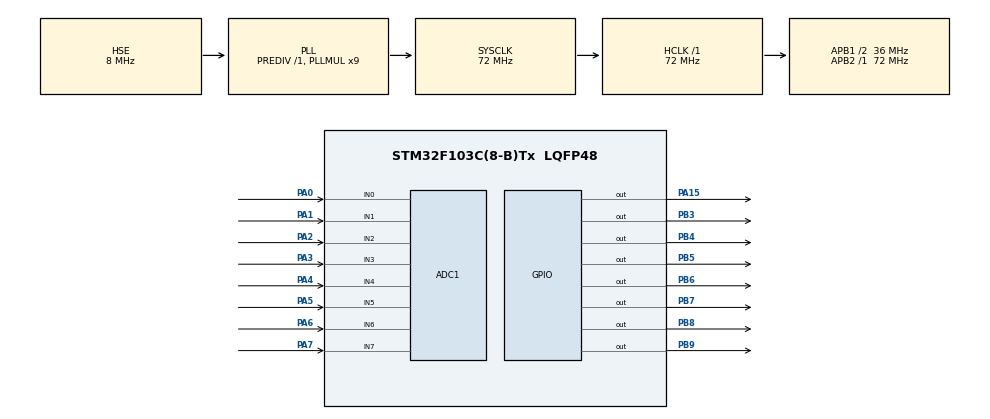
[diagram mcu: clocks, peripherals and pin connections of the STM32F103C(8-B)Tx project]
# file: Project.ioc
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ADC1.Channel-0\#ChannelRegularConversion=ADC_CHANNEL_0
ADC1.Channel-1\#ChannelRegularConversion=ADC_CHANNEL_1
ADC1.Channel-2\#ChannelRegularConversion=ADC_CHANNEL_2
ADC1.Channel-3\#ChannelRegularConversion=ADC_CHANNEL_3
ADC1.Channel-4\#ChannelRegularConversion=ADC_CHANNEL_4
ADC1.Channel-5\#ChannelRegularConversion=ADC_CHANNEL_5
ADC1.Channel-6\#ChannelRegularConversion=ADC_CHANNEL_6
ADC1.Channel-7\#ChannelRegularConversion=ADC_CHANNEL_7
ADC1.ContinuousConvMode=ENABLE
ADC1.NbrOfConversion=8
ADC1.NbrOfConversionFlag=1
ADC1.Rank-0\#ChannelRegularConversion=1
ADC1.Rank-1\#ChannelRegularConversion=2
ADC1.Rank-2\#ChannelRegularConversion=3
ADC1.Rank-3\#ChannelRegularConversion=4
ADC1.Rank-4\#ChannelRegularConversion=5
ADC1.Rank-5\#ChannelRegularConversion=6
ADC1.Rank-6\#ChannelRegularConversion=7
ADC1.Rank-7\#ChannelRegularConversion=8
ADC1.SamplingTime-0\#ChannelRegularConversion=ADC_SAMPLETIME_7CYCLES_5
ADC1.SamplingTime-1\#ChannelRegularConversion=ADC_SAMPLETIME_7CYCLES_5
ADC1.SamplingTime-2\#ChannelRegularConversion=ADC_SAMPLETIME_7CYCLES_5
ADC1.SamplingTime-3\#ChannelRegularConversion=ADC_SAMPLETIME_7CYCLES_5
ADC1.SamplingTime-4\#ChannelRegularConversion=ADC_SAMPLETIME_7CYCLES_5
ADC1.SamplingTime-5\#ChannelRegularConversion=ADC_SAMPLETIME_7CYCLES_5
ADC1.SamplingTime-6\#ChannelRegularConversion=ADC_SAMPLETIME_7CYCLES_5
ADC1.SamplingTime-7\#ChannelRegularConversion=ADC_SAMPLETIME_7CYCLES_5
ADC1.master=1
Dma.ADC1.0.Direction=DMA_PERIPH_TO_MEMORY
Dma.ADC1.0.Instance=DMA1_Channel1
Dma.ADC1.0.MemDataAlignment=DMA_MDATAALIGN_WORD
Dma.ADC1.0.MemInc=DMA_MINC_ENABLE
Dma.ADC1.0.Mode=DMA_CIRCULAR
Dma.ADC1.0.PeriphDataAlignment=DMA_PDATAALIGN_WORD
Dma.ADC1.0.PeriphInc=DMA_PINC_DISABLE
Dma.ADC1.0.Priority=DMA_PRIORITY_LOW
Dma.Request0=ADC1
Mcu.Family=STM32F1
Mcu.Name=STM32F103C(8-B)Tx
Mcu.Package=LQFP48
NVIC.DMA1_Channel1_IRQn=true\:0\:0\:false\:false\:true\:false\:true
NVIC.PriorityGroup=NVIC_PRIORITYGROUP_4
PA0-WKUP.Signal=ADCx_IN0
PA1.Signal=ADCx_IN1
PA13.Mode=Serial_Wire
PA13.Signal=SYS_JTMS-SWDIO
PA14.Mode=Serial_Wire
PA14.Signal=SYS_JTCK-SWCLK
PA15.Signal=GPIO_Output
PA2.Signal=ADCx_IN2
PA3.Signal=ADCx_IN3
PA4.Signal=ADCx_IN4
PA5.Signal=ADCx_IN5
PA6.Signal=ADCx_IN6
PA7.Signal=ADCx_IN7
PB3.Signal=GPIO_Output
PB4.Signal=GPIO_Output
PB5.Signal=GPIO_Output
PB6.Signal=GPIO_Output
PB7.Signal=GPIO_Output
PB8.Signal=GPIO_Output
PB9.Signal=GPIO_Output
PD0-OSC_IN.Mode=HSE-External-Oscillator
PD0-OSC_IN.Signal=RCC_OSC_IN
PD1-OSC_OUT.Mode=HSE-External-Oscillator
PD1-OSC_OUT.Signal=RCC_OSC_OUT
ProjectManager.HeapSize=0x200
ProjectManager.StackSize=0x400
ProjectManager.TargetToolchain=MDK-ARM V5.27
RCC.ADCPresc=RCC_ADCPCLK2_DIV6
RCC.AHBFreq_Value=72000000
RCC.APB1CLKDivider=RCC_HCLK_DIV2
RCC.APB1Freq_Value=36000000
RCC.APB1TimFreq_Value=72000000
RCC.APB2Freq_Value=72000000
RCC.APB2TimFreq_Value=72000000
RCC.HCLKFreq_Value=72000000
RCC.PLLMUL=RCC_PLL_MUL9
RCC.PLLSourceVirtual=RCC_PLLSOURCE_HSE
RCC.SYSCLKFreq_VALUE=72000000
RCC.SYSCLKSource=RCC_SYSCLKSOURCE_PLLCLK
RCC.USBFreq_Value=72000000
SH.ADCx_IN0.0=ADC1_IN0,IN0
SH.ADCx_IN1.0=ADC1_IN1,IN1
SH.ADCx_IN2.0=ADC1_IN2,IN2
SH.ADCx_IN3.0=ADC1_IN3,IN3
SH.ADCx_IN4.0=ADC1_IN4,IN4
SH.ADCx_IN5.0=ADC1_IN5,IN5
SH.ADCx_IN6.0=ADC1_IN6,IN6
SH.ADCx_IN7.0=ADC1_IN7,IN7
TIM1.Prescaler=71
VP_TIM1_VS_ClockSourceINT.Mode=Internal
board=custom

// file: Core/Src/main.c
/* USER CODE BEGIN Header */
/**
  ******************************************************************************
  * @file           : main.c
  * @brief          : Main program body
  ******************************************************************************
  * @attention
  *
  * <h2><center>&copy; Copyright (c) 2021 STMicroelectronics.
  * All rights reserved.</center></h2>
  *
  * This software component is licensed by ST under BSD 3-Clause license,
  * the "License"; You may not use this file except in compliance with the
  * License. You may obtain a copy of the License at:
  *                        opensource.org/licenses/BSD-3-Clause
  *
  ******************************************************************************
  */
/* USER CODE END Header */
#include "main.h"

/* USER CODE BEGIN PTD */
void delay_us (uint16_t delay);
void CheckLed (void);
void CheckColumn (void);
void CheckRow (void);
void AverageColumn(void);
void ShowScreen(void);
void DisplayScreen(uint16_t display[]);

/* USER CODE END PTD */

ADC_HandleTypeDef hadc1;
DMA_HandleTypeDef hdma_adc1;

TIM_HandleTypeDef htim1;

void SystemClock_Config(void);
static void MX_GPIO_Init(void);
static void MX_DMA_Init(void);
static void MX_ADC1_Init(void);
static void MX_TIM1_Init(void);
/* USER CODE BEGIN PFP */

  uint16_t go[8] = {0x00,0xF0,0x90,0x87,0xB5,0x95,0xF7,0x00};

/* USER CODE END PFP */

/* USER CODE BEGIN 0 */

// Pin Numaralari Tanimlamalari
uint32_t rows[8] ={GPIO_PIN_15,GPIO_PIN_3,GPIO_PIN_4,GPIO_PIN_5,GPIO_PIN_6,GPIO_PIN_7,GPIO_PIN_8,GPIO_PIN_9};       // PA12 PA15 | PB2-PB8
uint32_t cols[8] ={GPIO_PIN_0,GPIO_PIN_1,GPIO_PIN_2,GPIO_PIN_3,GPIO_PIN_4,GPIO_PIN_5,GPIO_PIN_6,GPIO_PIN_7};				// PA0-PA7

// ADC Dizileri
uint32_t adc_col[8]={0};																																														// ADC Ham Veri Dizisi
uint32_t adc_col_tresh[8]={0};																																											// Baslangic Voltaj Dizisi
int32_t diff[8]={0};																																																// Fark Dizisi

// Lazer Pointer Degiskenleri
uint8_t pointed_column=8;																																														// Lazerle isaretlenen Sütün Degeri - [8 - lazer yok]
uint8_t pointed_row=8;																																															// Lazerle isaretlenen Satir Degeri - [8 - lazer yok]

uint16_t screen[8]={0};																																															// Ekran Deger Dizisi

/* USER CODE END 0 */

int main(void)
{

  /* MCU Configuration--------------------------------------------------------*/

  /* Reset of all peripherals, Initializes the Flash interface and the Systick. */
  HAL_Init();

  /* Configure the system clock */
  SystemClock_Config();

  /* Initialize all configured peripherals */
  MX_GPIO_Init();
  MX_DMA_Init();
//  MX_ADC1_Init();
  MX_TIM1_Init();
  /* USER CODE BEGIN 2 */

	CheckLed();																																																						// Baslangic Ekrani ve Ledler
	AverageColumn();																																																			// Ortalama Voltaj Degerleri Okunuyor

  /* USER CODE END 2 */

  /* Infinite loop */
  while (1)
  {

    /* USER CODE BEGIN 3 */

		CheckColumn();																																																			// Lazer Pointer Ile Isaretlenen Satir Degeri Hesaplama Fonksiyonu
		CheckRow();																																																					// Lazer Pointer Ile Isaretlenen Sutun Degeri Hesaplama Fonksiyonu

		HAL_GPIO_DeInit(GPIOA,GPIO_PIN_15);
		HAL_GPIO_DeInit(GPIOB,GPIO_PIN_3|GPIO_PIN_4|GPIO_PIN_5|GPIO_PIN_6
														|GPIO_PIN_7|GPIO_PIN_8|GPIO_PIN_9);

		if(pointed_row <8 && pointed_column <8)
		{
			screen[pointed_row]= screen[pointed_row] | ( 1u<<pointed_column);
		}

		//ShowScreen();																																																				// Ekrana Isaretlenen Deger Yazdiriliyor.
		DisplayScreen(go);

  }
  /* USER CODE END 3 */
}

void SystemClock_Config(void)
{
  RCC_OscInitTypeDef RCC_OscInitStruct = {0};
  RCC_ClkInitTypeDef RCC_ClkInitStruct = {0};
  RCC_PeriphCLKInitTypeDef PeriphClkInit = {0};

  /** Initializes the RCC Oscillators according to the specified parameters
  * in the RCC_OscInitTypeDef structure.
  */
  RCC_OscInitStruct.OscillatorType = RCC_OSCILLATORTYPE_HSE;
  RCC_OscInitStruct.HSEState = RCC_HSE_ON;
  RCC_OscInitStruct.HSEPredivValue = RCC_HSE_PREDIV_DIV1;
  RCC_OscInitStruct.HSIState = RCC_HSI_ON;
  RCC_OscInitStruct.PLL.PLLState = RCC_PLL_ON;
  RCC_OscInitStruct.PLL.PLLSource = RCC_PLLSOURCE_HSE;
  RCC_OscInitStruct.PLL.PLLMUL = RCC_PLL_MUL9;
  if (HAL_RCC_OscConfig(&RCC_OscInitStruct) != HAL_OK)
  {
    Error_Handler();
  }
  /** Initializes the CPU, AHB and APB buses clocks
  */
  RCC_ClkInitStruct.ClockType = RCC_CLOCKTYPE_HCLK|RCC_CLOCKTYPE_SYSCLK
                              |RCC_CLOCKTYPE_PCLK1|RCC_CLOCKTYPE_PCLK2;
  RCC_ClkInitStruct.SYSCLKSource = RCC_SYSCLKSOURCE_PLLCLK;
  RCC_ClkInitStruct.AHBCLKDivider = RCC_SYSCLK_DIV1;
  RCC_ClkInitStruct.APB1CLKDivider = RCC_HCLK_DIV2;
  RCC_ClkInitStruct.APB2CLKDivider = RCC_HCLK_DIV1;

  if (HAL_RCC_ClockConfig(&RCC_ClkInitStruct, FLASH_LATENCY_2) != HAL_OK)
  {
    Error_Handler();
  }
  PeriphClkInit.PeriphClockSelection = RCC_PERIPHCLK_ADC;
  PeriphClkInit.AdcClockSelection = RCC_ADCPCLK2_DIV6;
  if (HAL_RCCEx_PeriphCLKConfig(&PeriphClkInit) != HAL_OK)
  {
    Error_Handler();
  }
}

static void MX_ADC1_Init(void)
{

  ADC_ChannelConfTypeDef sConfig = {0};

  /** Common config
  */
  hadc1.Instance = ADC1;
  hadc1.Init.ScanConvMode = ADC_SCAN_ENABLE;
  hadc1.Init.ContinuousConvMode = ENABLE;
  hadc1.Init.DiscontinuousConvMode = DISABLE;
  hadc1.Init.ExternalTrigConv = ADC_SOFTWARE_START;
  hadc1.Init.DataAlign = ADC_DATAALIGN_RIGHT;
  hadc1.Init.NbrOfConversion = 8;
  if (HAL_ADC_Init(&hadc1) != HAL_OK)
  {
    Error_Handler();
  }
  /** Configure Regular Channel
  */
  sConfig.Channel = ADC_CHANNEL_0;
  sConfig.Rank = ADC_REGULAR_RANK_1;
  sConfig.SamplingTime = ADC_SAMPLETIME_7CYCLES_5;
  if (HAL_ADC_ConfigChannel(&hadc1, &sConfig) != HAL_OK)
  {
    Error_Handler();
  }
  /** Configure Regular Channel
  */
  sConfig.Channel = ADC_CHANNEL_1;
  sConfig.Rank = ADC_REGULAR_RANK_2;
  if (HAL_ADC_ConfigChannel(&hadc1, &sConfig) != HAL_OK)
  {
    Error_Handler();
  }
  /** Configure Regular Channel
  */
  sConfig.Channel = ADC_CHANNEL_2;
  sConfig.Rank = ADC_REGULAR_RANK_3;
  if (HAL_ADC_ConfigChannel(&hadc1, &sConfig) != HAL_OK)
  {
    Error_Handler();
  }
  /** Configure Regular Channel
  */
  sConfig.Channel = ADC_CHANNEL_3;
  sConfig.Rank = ADC_REGULAR_RANK_4;
  if (HAL_ADC_ConfigChannel(&hadc1, &sConfig) != HAL_OK)
  {
    Error_Handler();
  }
  /** Configure Regular Channel
  */
  sConfig.Channel = ADC_CHANNEL_4;
  sConfig.Rank = ADC_REGULAR_RANK_5;
  if (HAL_ADC_ConfigChannel(&hadc1, &sConfig) != HAL_OK)
  {
    Error_Handler();
  }
  /** Configure Regular Channel
  */
  sConfig.Channel = ADC_CHANNEL_5;
  sConfig.Rank = ADC_REGULAR_RANK_6;
  if (HAL_ADC_ConfigChannel(&hadc1, &sConfig) != HAL_OK)
  {
    Error_Handler();
  }
  /** Configure Regular Channel
  */
  sConfig.Channel = ADC_CHANNEL_6;
  sConfig.Rank = ADC_REGULAR_RANK_7;
  if (HAL_ADC_ConfigChannel(&hadc1, &sConfig) != HAL_OK)
  {
    Error_Handler();
  }
  /** Configure Regular Channel
  */
  sConfig.Channel = ADC_CHANNEL_7;
  sConfig.Rank = ADC_REGULAR_RANK_8;
  if (HAL_ADC_ConfigChannel(&hadc1, &sConfig) != HAL_OK)
  {
    Error_Handler();
  }

}

static void MX_TIM1_Init(void)
{

  TIM_ClockConfigTypeDef sClockSourceConfig = {0};
  TIM_MasterConfigTypeDef sMasterConfig = {0};

  htim1.Instance = TIM1;
  htim1.Init.Prescaler = 71;
  htim1.Init.CounterMode = TIM_COUNTERMODE_UP;
  htim1.Init.Period = 65535;
  htim1.Init.ClockDivision = TIM_CLOCKDIVISION_DIV1;
  htim1.Init.RepetitionCounter = 0;
  htim1.Init.AutoReloadPreload = TIM_AUTORELOAD_PRELOAD_DISABLE;
  if (HAL_TIM_Base_Init(&htim1) != HAL_OK)
  {
    Error_Handler();
  }
  sClockSourceConfig.ClockSource = TIM_CLOCKSOURCE_INTERNAL;
  if (HAL_TIM_ConfigClockSource(&htim1, &sClockSourceConfig) != HAL_OK)
  {
    Error_Handler();
  }
  sMasterConfig.MasterOutputTrigger = TIM_TRGO_RESET;
  sMasterConfig.MasterSlaveMode = TIM_MASTERSLAVEMODE_DISABLE;
  if (HAL_TIMEx_MasterConfigSynchronization(&htim1, &sMasterConfig) != HAL_OK)
  {
    Error_Handler();
  }

}

static void MX_DMA_Init(void)
{

  /* DMA controller clock enable */
  __HAL_RCC_DMA1_CLK_ENABLE();

  /* DMA interrupt init */
  /* DMA1_Channel1_IRQn interrupt configuration */
  HAL_NVIC_SetPriority(DMA1_Channel1_IRQn, 0, 0);
  HAL_NVIC_EnableIRQ(DMA1_Channel1_IRQn);

}

static void MX_GPIO_Init(void)
{
  GPIO_InitTypeDef GPIO_InitStruct = {0};

  /* GPIO Ports Clock Enable */
  __HAL_RCC_GPIOD_CLK_ENABLE();
  __HAL_RCC_GPIOA_CLK_ENABLE();
  __HAL_RCC_GPIOB_CLK_ENABLE();

  /*Configure GPIO pin Output Level */
  HAL_GPIO_WritePin(GPIOA, GPIO_PIN_0|GPIO_PIN_1|GPIO_PIN_2|GPIO_PIN_3|GPIO_PIN_4
	|GPIO_PIN_5|GPIO_PIN_6|GPIO_PIN_7|GPIO_PIN_15, GPIO_PIN_RESET);

  /*Configure GPIO pin Output Level */
  HAL_GPIO_WritePin(GPIOB, GPIO_PIN_3|GPIO_PIN_4|GPIO_PIN_5|GPIO_PIN_6
                          |GPIO_PIN_7|GPIO_PIN_8|GPIO_PIN_9, GPIO_PIN_RESET);

  /*Configure GPIO pin : PA15 */
  GPIO_InitStruct.Pin = GPIO_PIN_0|GPIO_PIN_1|GPIO_PIN_2|GPIO_PIN_3|GPIO_PIN_4
	|GPIO_PIN_5|GPIO_PIN_6|GPIO_PIN_7|GPIO_PIN_15;
  GPIO_InitStruct.Mode = GPIO_MODE_OUTPUT_PP;
  GPIO_InitStruct.Pull = GPIO_NOPULL;
  GPIO_InitStruct.Speed = GPIO_SPEED_FREQ_LOW;
  HAL_GPIO_Init(GPIOA, &GPIO_InitStruct);

  /*Configure GPIO pins : PB3 PB4 PB5 PB6
                           PB7 PB9 */
  GPIO_InitStruct.Pin = GPIO_PIN_3|GPIO_PIN_4|GPIO_PIN_5|GPIO_PIN_6
                          |GPIO_PIN_7|GPIO_PIN_8|GPIO_PIN_9;
  GPIO_InitStruct.Mode = GPIO_MODE_OUTPUT_PP;
  GPIO_InitStruct.Pull = GPIO_NOPULL;
  GPIO_InitStruct.Speed = GPIO_SPEED_FREQ_LOW;
  HAL_GPIO_Init(GPIOB, &GPIO_InitStruct);

}

/* USER CODE BEGIN 4 */

void micros(uint16_t delay)
{
 __HAL_TIM_SET_COUNTER(&htim1,0);
	while(__HAL_TIM_GET_COUNTER(&htim1)<delay);

}

void delay_us (uint16_t delay)
{
  __HAL_TIM_SET_COUNTER(&htim1,0);
	while(__HAL_TIM_GET_COUNTER(&htim1)<<delay);
}

void CheckLed (void)
{

	HAL_GPIO_WritePin(GPIOA,GPIO_PIN_0|GPIO_PIN_1|GPIO_PIN_2|GPIO_PIN_3|GPIO_PIN_4|GPIO_PIN_5|GPIO_PIN_6|GPIO_PIN_7,GPIO_PIN_SET);
	HAL_GPIO_WritePin(GPIOA,GPIO_PIN_15,GPIO_PIN_RESET);
	HAL_GPIO_WritePin(GPIOB,GPIO_PIN_3|GPIO_PIN_4|GPIO_PIN_5|GPIO_PIN_6|GPIO_PIN_7|GPIO_PIN_8|GPIO_PIN_9,GPIO_PIN_RESET);

	HAL_Delay(500);

	// Ledler Kapali
	GPIOA->BSRR=(GPIO_PIN_0|GPIO_PIN_1|GPIO_PIN_2|GPIO_PIN_3|GPIO_PIN_4|GPIO_PIN_5|GPIO_PIN_6|GPIO_PIN_7)<<16u;				// Reset
	GPIOA->BSRR=(GPIO_PIN_15);																																												// Set
	GPIOB->BSRR=(GPIO_PIN_3|GPIO_PIN_4|GPIO_PIN_5|GPIO_PIN_6|GPIO_PIN_7|GPIO_PIN_8|GPIO_PIN_9);												// Set

	// Problem Var mi Diye Sebebiyle Tek Tek Açiliyor.
	for(uint8_t j=0; j<8;j++)
{
	if(j<1)
	{
			GPIOA->BSRR = rows[j] << 16u;											// Satir LOW
	}
	else
	{
			GPIOB->BSRR = rows[j]<<16u;												// Satir LOW
	}

	for(uint8_t i=0; i<8;i++)
	{
			// Sütun Aç
		GPIOA->BSRR = cols[i];
		HAL_Delay(10);
		// Sütun Kapa
		GPIOA->BSRR = cols[i]<<16u;
	}

	if(j<1)
	{
			GPIOA->BSRR = rows[j];
	}
	else
	{
			GPIOB->BSRR = rows[j];
	}

}
}

void CheckColumn (void)
{

	HAL_GPIO_DeInit(GPIOA,GPIO_PIN_15);
	HAL_GPIO_DeInit(GPIOA,GPIO_PIN_0|GPIO_PIN_1|GPIO_PIN_2|GPIO_PIN_3
                          |GPIO_PIN_4|GPIO_PIN_5|GPIO_PIN_6|GPIO_PIN_7);
	HAL_GPIO_DeInit(GPIOB,GPIO_PIN_3|GPIO_PIN_4|GPIO_PIN_5|GPIO_PIN_6
                          |GPIO_PIN_7|GPIO_PIN_8|GPIO_PIN_9);

	HAL_GPIO_WritePin(GPIOA, GPIO_PIN_0|GPIO_PIN_1|GPIO_PIN_2|GPIO_PIN_3|GPIO_PIN_4
	|GPIO_PIN_5|GPIO_PIN_6|GPIO_PIN_7|GPIO_PIN_15, GPIO_PIN_RESET);

  /*Configure GPIO pin Output Level */
  HAL_GPIO_WritePin(GPIOB, GPIO_PIN_3|GPIO_PIN_4|GPIO_PIN_5|GPIO_PIN_6
                          |GPIO_PIN_7|GPIO_PIN_8|GPIO_PIN_9, GPIO_PIN_RESET);

	GPIO_InitTypeDef GPIO_InitStruct = {0};
  /*Configure GPIO pin : PA15 */
  GPIO_InitStruct.Pin = GPIO_PIN_0|GPIO_PIN_1|GPIO_PIN_2|GPIO_PIN_3|GPIO_PIN_4
	|GPIO_PIN_5|GPIO_PIN_6|GPIO_PIN_7|GPIO_PIN_15;
  GPIO_InitStruct.Mode = GPIO_MODE_OUTPUT_PP;
  GPIO_InitStruct.Pull = GPIO_NOPULL;
  GPIO_InitStruct.Speed = GPIO_SPEED_FREQ_LOW;
  HAL_GPIO_Init(GPIOA, &GPIO_InitStruct);

  /*Configure GPIO pins : PB3 PB4 PB5 PB6
                           PB7 PB9 */
  GPIO_InitStruct.Pin = GPIO_PIN_3|GPIO_PIN_4|GPIO_PIN_5|GPIO_PIN_6
                          |GPIO_PIN_7|GPIO_PIN_8|GPIO_PIN_9;
  GPIO_InitStruct.Mode = GPIO_MODE_OUTPUT_PP;
  GPIO_InitStruct.Pull = GPIO_NOPULL;
  GPIO_InitStruct.Speed = GPIO_SPEED_FREQ_LOW;
  HAL_GPIO_Init(GPIOB, &GPIO_InitStruct);

	 GPIOB->BSRR=(GPIO_PIN_3|GPIO_PIN_4|GPIO_PIN_5|GPIO_PIN_6|GPIO_PIN_7|GPIO_PIN_8|GPIO_PIN_9)<<16u;												// Reset
	 GPIOA->BSRR=(GPIO_PIN_15)<<16u;																																													// Reset
// GPIO Pinleri Kapatiliyor
    HAL_GPIO_DeInit(GPIOA,GPIO_PIN_0|GPIO_PIN_1|GPIO_PIN_2|GPIO_PIN_3
                          |GPIO_PIN_4|GPIO_PIN_5|GPIO_PIN_6|GPIO_PIN_7);
		MX_ADC1_Init();
		HAL_ADC_Start_DMA(&hadc1,adc_col,8);
		HAL_Delay(5);
		HAL_ADC_Stop(&hadc1);
		HAL_ADC_DeInit(&hadc1);

		for(uint8_t i=0; i<8; i++)
		{
		 diff[i]=adc_col[i]-adc_col_tresh[i];
		}

		pointed_column = 8;

		for (uint8_t j=0; j<8; j++)
		{
			if (diff[j] >100)
			{
			 pointed_column = j;
			 break;
			}
		}

}

void AverageColumn(void)
{

	MX_ADC1_Init();

	for (uint16_t k=0; k<500; k++)
	{

	 GPIOB->BSRR=(GPIO_PIN_3|GPIO_PIN_4|GPIO_PIN_5|GPIO_PIN_6|GPIO_PIN_7|GPIO_PIN_8|GPIO_PIN_9)<<16u;												// Reset
	 GPIOA->BSRR=(GPIO_PIN_15)<<16u;																																													// Reset
// GPIO Pinleri Kapatiliyor
    HAL_GPIO_DeInit(GPIOA,GPIO_PIN_0|GPIO_PIN_1|GPIO_PIN_2|GPIO_PIN_3
                          |GPIO_PIN_4|GPIO_PIN_5|GPIO_PIN_6|GPIO_PIN_7);
		MX_ADC1_Init();
		HAL_ADC_Start_DMA(&hadc1,adc_col,8);
		HAL_Delay(5);
			for (uint8_t j=0; j<8; j++)
		{
			adc_col_tresh[j] += adc_col[j];
		}
		HAL_ADC_Stop(&hadc1);
		HAL_ADC_DeInit(&hadc1);
		MX_GPIO_Init();
	}

		for (uint8_t j=0; j<8; j++)
		{
			adc_col_tresh[j] = adc_col_tresh[j]/500;
		}

}

void CheckRow(void)
{

	HAL_GPIO_DeInit(GPIOA,GPIO_PIN_15);
	HAL_GPIO_DeInit(GPIOB,GPIO_PIN_3|GPIO_PIN_4|GPIO_PIN_5|GPIO_PIN_6
                          |GPIO_PIN_7|GPIO_PIN_8|GPIO_PIN_9);

	HAL_GPIO_DeInit(GPIOA,GPIO_PIN_0|GPIO_PIN_1|GPIO_PIN_2|GPIO_PIN_3
                          |GPIO_PIN_4|GPIO_PIN_5|GPIO_PIN_6|GPIO_PIN_7);

	// Pinler Output Olarak Konfigüre Ediliyor.
	GPIO_InitTypeDef GPIO_InitStruct = {0};

	HAL_GPIO_WritePin(GPIOA, GPIO_PIN_0|GPIO_PIN_1|GPIO_PIN_2|GPIO_PIN_3
                          |GPIO_PIN_4|GPIO_PIN_5|GPIO_PIN_6|GPIO_PIN_7, GPIO_PIN_RESET);

  HAL_GPIO_WritePin(GPIOB, GPIO_PIN_3|GPIO_PIN_4|GPIO_PIN_5|GPIO_PIN_6|GPIO_PIN_7|GPIO_PIN_8|GPIO_PIN_9, GPIO_PIN_RESET);

  GPIO_InitStruct.Pin = GPIO_PIN_0|GPIO_PIN_1|GPIO_PIN_2|GPIO_PIN_3
                          |GPIO_PIN_4|GPIO_PIN_5|GPIO_PIN_6|GPIO_PIN_7|GPIO_PIN_15;
  GPIO_InitStruct.Mode = GPIO_MODE_OUTPUT_PP;
  GPIO_InitStruct.Pull = GPIO_NOPULL;
  GPIO_InitStruct.Speed = GPIO_SPEED_FREQ_LOW;
  HAL_GPIO_Init(GPIOA, &GPIO_InitStruct);

	GPIO_InitStruct.Pin = GPIO_PIN_3|GPIO_PIN_4|GPIO_PIN_5|GPIO_PIN_6|GPIO_PIN_7|GPIO_PIN_8|GPIO_PIN_9;
  GPIO_InitStruct.Mode = GPIO_MODE_OUTPUT_PP;
  GPIO_InitStruct.Pull = GPIO_NOPULL;
  GPIO_InitStruct.Speed = GPIO_SPEED_FREQ_LOW;
  HAL_GPIO_Init(GPIOB, &GPIO_InitStruct);

	// Tersine Voltaj Uygulaniyor
	HAL_GPIO_WritePin(GPIOA,GPIO_PIN_0|GPIO_PIN_1|GPIO_PIN_2|GPIO_PIN_3|GPIO_PIN_4|GPIO_PIN_5|GPIO_PIN_6|GPIO_PIN_7,GPIO_PIN_RESET);
	HAL_GPIO_WritePin(GPIOA,GPIO_PIN_15,GPIO_PIN_SET);
	HAL_GPIO_WritePin(GPIOB,GPIO_PIN_3|GPIO_PIN_4|GPIO_PIN_5|GPIO_PIN_6|GPIO_PIN_7|GPIO_PIN_8|GPIO_PIN_9,GPIO_PIN_SET);

	delay_us(100);

	HAL_GPIO_DeInit(GPIOA,GPIO_PIN_15);
	HAL_GPIO_DeInit(GPIOB,GPIO_PIN_3|GPIO_PIN_4|GPIO_PIN_5|GPIO_PIN_6
                          |GPIO_PIN_7|GPIO_PIN_8|GPIO_PIN_9);

	GPIO_InitStruct.Pin = GPIO_PIN_15;
  GPIO_InitStruct.Mode = GPIO_MODE_INPUT;
  GPIO_InitStruct.Pull = GPIO_NOPULL;
	GPIO_InitStruct.Speed = GPIO_SPEED_FREQ_HIGH;
  HAL_GPIO_Init(GPIOA, &GPIO_InitStruct);

	GPIO_InitStruct.Pin = GPIO_PIN_3|GPIO_PIN_4|GPIO_PIN_5|GPIO_PIN_6
                          |GPIO_PIN_7|GPIO_PIN_8|GPIO_PIN_9;
  GPIO_InitStruct.Mode = GPIO_MODE_INPUT;
  GPIO_InitStruct.Pull = GPIO_NOPULL;
	GPIO_InitStruct.Speed = GPIO_SPEED_FREQ_HIGH;
  HAL_GPIO_Init(GPIOB, &GPIO_InitStruct);

	uint16_t val[8] = {1000,1000,1000,1000,1000,1000,1000,1000};

	for( uint16_t cnt=0; cnt<1000; cnt++ )
	{
    for( uint8_t r=0; r<8; r++ )
		{
			if (r<1)
			{
				if( HAL_GPIO_ReadPin(GPIOA,rows[r]) == GPIO_PIN_RESET && val[r] == 1000 )
				{
					val[r] = cnt;
				}
			}
			else
			{
				if( HAL_GPIO_ReadPin(GPIOB,rows[r]) == GPIO_PIN_RESET && val[r] == 1000 )
				{
					val[r] = cnt;
				}
			}

    }
	}
		pointed_row=8;
	for (uint8_t j=0; j<8; j++)
		{
			if (val[j]<100)
			{
			 pointed_row = j;
			 break;
			}
		}

}

void ShowScreen(void)
{

	GPIO_InitTypeDef GPIO_InitStruct = {0};
	GPIO_InitStruct.Pin = GPIO_PIN_15;
  GPIO_InitStruct.Mode = GPIO_MODE_OUTPUT_PP;
  GPIO_InitStruct.Pull = GPIO_NOPULL;
	GPIO_InitStruct.Speed = GPIO_SPEED_FREQ_HIGH;
  HAL_GPIO_Init(GPIOA, &GPIO_InitStruct);

	GPIO_InitStruct.Pin = GPIO_PIN_3|GPIO_PIN_4|GPIO_PIN_5|GPIO_PIN_6
                          |GPIO_PIN_7|GPIO_PIN_8|GPIO_PIN_9;
  GPIO_InitStruct.Mode = GPIO_MODE_OUTPUT_PP;
  GPIO_InitStruct.Pull = GPIO_NOPULL;
	GPIO_InitStruct.Speed = GPIO_SPEED_FREQ_HIGH;
  HAL_GPIO_Init(GPIOB, &GPIO_InitStruct);

		HAL_GPIO_WritePin(GPIOA,GPIO_PIN_0|GPIO_PIN_1|GPIO_PIN_2|GPIO_PIN_3|GPIO_PIN_4
										|GPIO_PIN_5|GPIO_PIN_6|GPIO_PIN_7,GPIO_PIN_RESET);

		HAL_GPIO_WritePin(GPIOA,GPIO_PIN_15,GPIO_PIN_SET);

		HAL_GPIO_WritePin(GPIOB,GPIO_PIN_3|GPIO_PIN_4
										|GPIO_PIN_5|GPIO_PIN_6|GPIO_PIN_7|GPIO_PIN_8|GPIO_PIN_9,GPIO_PIN_SET);

	for( uint8_t i=0; i<5; i++)
	{
    for( uint8_t row=0; row<8; row++ )
			{
				if(row<1)
				{
					GPIO_InitTypeDef GPIO_InitStruct = {0};
					GPIO_InitStruct.Pin = rows[row];
					GPIO_InitStruct.Mode = GPIO_MODE_OUTPUT_PP;
					GPIO_InitStruct.Pull = GPIO_NOPULL;
					GPIO_InitStruct.Speed = GPIO_SPEED_FREQ_HIGH;
					HAL_GPIO_Init(GPIOB, &GPIO_InitStruct);
					GPIOA->BSRR = rows[row]<<16u;

				}
				else if(row>=1 && row<8)
				{
					GPIO_InitTypeDef GPIO_InitStruct = {0};
					GPIO_InitStruct.Pin = rows[row];
					GPIO_InitStruct.Mode = GPIO_MODE_OUTPUT_PP;
					GPIO_InitStruct.Pull = GPIO_NOPULL;
					GPIO_InitStruct.Speed = GPIO_SPEED_FREQ_HIGH;
					HAL_GPIO_Init(GPIOB, &GPIO_InitStruct);
					GPIOB->BSRR = rows[row]<<16u;
				}

				GPIOA->ODR = screen[row];

				if(row>0)
				{
					GPIOA->BSRR = GPIO_PIN_15;
				}

			for(uint16_t k=0; k<100;k++)
				{
					delay_us(800);
				}

				if(row<1)
				{
						GPIOA->BSRR = rows[row];
				}
				else
				{
						GPIOB->BSRR = rows[row];
				}
    }
  }

}

void DisplayScreen(uint16_t display[])
{

	GPIO_InitTypeDef GPIO_InitStruct = {0};
	GPIO_InitStruct.Pin = GPIO_PIN_15;
  GPIO_InitStruct.Mode = GPIO_MODE_OUTPUT_PP;
  GPIO_InitStruct.Pull = GPIO_NOPULL;
	GPIO_InitStruct.Speed = GPIO_SPEED_FREQ_HIGH;
  HAL_GPIO_Init(GPIOA, &GPIO_InitStruct);

	GPIO_InitStruct.Pin = GPIO_PIN_3|GPIO_PIN_4|GPIO_PIN_5|GPIO_PIN_6
                          |GPIO_PIN_7|GPIO_PIN_8|GPIO_PIN_9;
  GPIO_InitStruct.Mode = GPIO_MODE_OUTPUT_PP;
  GPIO_InitStruct.Pull = GPIO_NOPULL;
	GPIO_InitStruct.Speed = GPIO_SPEED_FREQ_HIGH;
  HAL_GPIO_Init(GPIOB, &GPIO_InitStruct);

		HAL_GPIO_WritePin(GPIOA,GPIO_PIN_0|GPIO_PIN_1|GPIO_PIN_2|GPIO_PIN_3|GPIO_PIN_4
										|GPIO_PIN_5|GPIO_PIN_6|GPIO_PIN_7,GPIO_PIN_RESET);

		HAL_GPIO_WritePin(GPIOA,GPIO_PIN_15,GPIO_PIN_SET);

		HAL_GPIO_WritePin(GPIOB,GPIO_PIN_3|GPIO_PIN_4
										|GPIO_PIN_5|GPIO_PIN_6|GPIO_PIN_7|GPIO_PIN_8|GPIO_PIN_9,GPIO_PIN_SET);

	for( uint8_t i=0; i<5; i++)
	{
    for( uint8_t row=0; row<8; row++ )
			{
				if(row<1)
				{
					GPIO_InitTypeDef GPIO_InitStruct = {0};
					GPIO_InitStruct.Pin = rows[row];
					GPIO_InitStruct.Mode = GPIO_MODE_OUTPUT_PP;
					GPIO_InitStruct.Pull = GPIO_NOPULL;
					GPIO_InitStruct.Speed = GPIO_SPEED_FREQ_HIGH;
					HAL_GPIO_Init(GPIOB, &GPIO_InitStruct);
					GPIOA->BSRR = rows[row]<<16u;

				}
				else if(row>=1 && row<8)
				{
					GPIO_InitTypeDef GPIO_InitStruct = {0};
					GPIO_InitStruct.Pin = rows[row];
					GPIO_InitStruct.Mode = GPIO_MODE_OUTPUT_PP;
					GPIO_InitStruct.Pull = GPIO_NOPULL;
					GPIO_InitStruct.Speed = GPIO_SPEED_FREQ_HIGH;
					HAL_GPIO_Init(GPIOB, &GPIO_InitStruct);
					GPIOB->BSRR = rows[row]<<16u;
				}

				GPIOA->ODR = display[row];

				if(row>0)
				{
					GPIOA->BSRR = GPIO_PIN_15;
				}

			for(uint16_t k=0; k<100;k++)
				{
					delay_us(800);
				}

				if(row<1)
				{
						GPIOA->BSRR = rows[row];
				}
				else
				{
						GPIOB->BSRR = rows[row];
				}
    }
  }

}

/* USER CODE END 4 */

void Error_Handler(void)
{
  __disable_irq();
  while (1)
  {
  }
}

/************************ (C) COPYRIGHT STMicroelectronics *****END OF FILE****/
